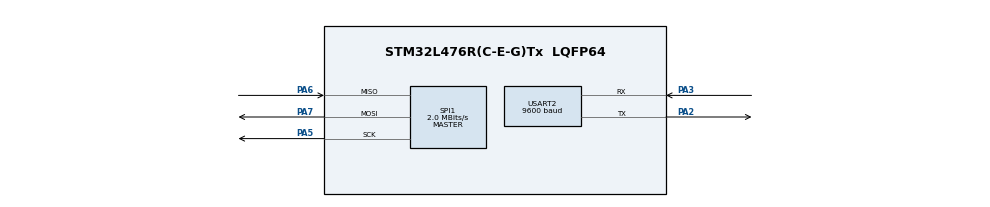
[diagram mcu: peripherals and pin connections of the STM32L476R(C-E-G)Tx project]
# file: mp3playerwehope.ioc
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Mcu.Family=STM32L4
Mcu.Name=STM32L476R(C-E-G)Tx
Mcu.Package=LQFP64
NVIC.PriorityGroup=NVIC_PRIORITYGROUP_4
PA2.Mode=Asynchronous
PA2.Signal=USART2_TX
PA3.Mode=Asynchronous
PA3.Signal=USART2_RX
PA5.Mode=Full_Duplex_Master
PA5.Signal=SPI1_SCK
PA6.Mode=Full_Duplex_Master
PA6.Signal=SPI1_MISO
PA7.Mode=Full_Duplex_Master
PA7.Signal=SPI1_MOSI
ProjectManager.HeapSize=0x200
ProjectManager.StackSize=0x400
ProjectManager.TargetToolchain=EWARM V8.32
RCC.HSE_VALUE=8000000
RCC.HSI_VALUE=16000000
RCC.LSE_VALUE=32768
RCC.MSI_VALUE=4000000
RCC.VCOOutputFreq_Value=32000000
SPI1.CalculateBaudRate=2.0 MBits/s
SPI1.Direction=SPI_DIRECTION_2LINES
SPI1.Mode=SPI_MODE_MASTER
SPI1.VirtualType=VM_MASTER
USART2.BaudRate=9600
USART2.VirtualMode-Asynchronous=VM_ASYNC
VP_FATFS_VS_Generic.Mode=User_defined
board=custom

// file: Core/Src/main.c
/* USER CODE BEGIN Header */
/**
  ******************************************************************************
  * @file           : main.c
  * @brief          : Main program body
  ******************************************************************************
  * @attention
  *
  * Copyright (c) 2025 STMicroelectronics.
  * All rights reserved.
  *
  * This software is licensed under terms that can be found in the LICENSE file
  * in the root directory of this software component.
  * If no LICENSE file comes with this software, it is provided AS-IS.
  *
  ******************************************************************************
  */
/* USER CODE END Header */
#include "main.h"
#include "fatfs.h"

/* USER CODE BEGIN Includes */
#include <string.h>
#include <stdio.h>
/* USER CODE END Includes */

SPI_HandleTypeDef hspi1;
UART_HandleTypeDef huart2;

/* USER CODE BEGIN PV */
/* FatFs objects */
extern FATFS SDFatFs;     // Defined in fatfs.c
extern char SDPath[4];    // Defined in fatfs.c
FIL MyFile;               // File object
char readBuf[128];        // Buffer for reading file text
/* USER CODE END PV */

void SystemClock_Config(void);
static void MX_GPIO_Init(void);
static void MX_SPI1_Init(void);
static void MX_USART2_UART_Init(void);

int main(void)
{

  /* MCU Configuration--------------------------------------------------------*/

  HAL_Init();

  /* Configure the system clock */
  SystemClock_Config();

  /* Initialize all configured peripherals */
  MX_GPIO_Init();
  MX_SPI1_Init();
  MX_USART2_UART_Init();
  MX_FATFS_Init();

  /* USER CODE BEGIN 2 */

  FRESULT res;
  UINT bytesread;

  // 1. Mount the SD card
  res = f_mount(&SDFatFs, (TCHAR const*)SDPath, 1);
  if (res != FR_OK)
  {
    Error_Handler();
  }

  // 2. Open the file (must exist on SD: test.txt)
  res = f_open(&MyFile, "test.txt", FA_READ);
  if (res != FR_OK)
  {
    Error_Handler();
  }

  // 3. Read file contents
  memset(readBuf, 0, sizeof(readBuf));
  res = f_read(&MyFile, readBuf, sizeof(readBuf) - 1, &bytesread);
  if (res != FR_OK)
  {
    Error_Handler();
  }

  // At this point readBuf contains text from test.txt
  // You can inspect it in debug or send using UART
  // Example:
  // HAL_UART_Transmit(&huart2, (uint8_t*)readBuf, strlen(readBuf), 100);

  // 4. Close file
  f_close(&MyFile);

  // 5. Optional unmount
  f_mount(NULL, (TCHAR const*)SDPath, 1);

  /* USER CODE END 2 */

  /* Infinite loop */
  while (1)
  {

  }
}

void SystemClock_Config(void)
{
  RCC_OscInitTypeDef RCC_OscInitStruct = {0};
  RCC_ClkInitTypeDef RCC_ClkInitStruct = {0};

  if (HAL_PWREx_ControlVoltageScaling(PWR_REGULATOR_VOLTAGE_SCALE1) != HAL_OK)
  {
    Error_Handler();
  }

  RCC_OscInitStruct.OscillatorType = RCC_OSCILLATORTYPE_MSI;
  RCC_OscInitStruct.MSIState = RCC_MSI_ON;
  RCC_OscInitStruct.MSICalibrationValue = 0;
  RCC_OscInitStruct.MSIClockRange = RCC_MSIRANGE_6;
  RCC_OscInitStruct.PLL.PLLState = RCC_PLL_NONE;

  if (HAL_RCC_OscConfig(&RCC_OscInitStruct) != HAL_OK)
  {
    Error_Handler();
  }

  RCC_ClkInitStruct.ClockType = RCC_CLOCKTYPE_HCLK
                              | RCC_CLOCKTYPE_SYSCLK
                              | RCC_CLOCKTYPE_PCLK1
                              | RCC_CLOCKTYPE_PCLK2;
  RCC_ClkInitStruct.SYSCLKSource = RCC_SYSCLKSOURCE_MSI;
  RCC_ClkInitStruct.AHBCLKDivider = RCC_SYSCLK_DIV1;
  RCC_ClkInitStruct.APB1CLKDivider = RCC_HCLK_DIV1;
  RCC_ClkInitStruct.APB2CLKDivider = RCC_HCLK_DIV1;

  if (HAL_RCC_ClockConfig(&RCC_ClkInitStruct, FLASH_LATENCY_0) != HAL_OK)
  {
    Error_Handler();
  }
}

static void MX_SPI1_Init(void)
{
  /* SPI1 parameter configuration*/
  hspi1.Instance = SPI1;
  hspi1.Init.Mode = SPI_MODE_MASTER;
  hspi1.Init.Direction = SPI_DIRECTION_2LINES;

  // ⚠️ IMPORTANT:
  // Change to SPI_DATASIZE_8BIT *in the .ioc* and regenerate code.
  hspi1.Init.DataSize = SPI_DATASIZE_8BIT;

  hspi1.Init.CLKPolarity = SPI_POLARITY_LOW;
  hspi1.Init.CLKPhase = SPI_PHASE_1EDGE;
  hspi1.Init.NSS = SPI_NSS_SOFT;
  hspi1.Init.BaudRatePrescaler = SPI_BAUDRATEPRESCALER_2;
  hspi1.Init.FirstBit = SPI_FIRSTBIT_MSB;
  hspi1.Init.TIMode = SPI_TIMODE_DISABLE;
  hspi1.Init.CRCCalculation = SPI_CRCCALCULATION_DISABLE;
  hspi1.Init.CRCPolynomial = 7;
  hspi1.Init.CRCLength = SPI_CRC_LENGTH_DATASIZE;
  hspi1.Init.NSSPMode = SPI_NSS_PULSE_ENABLE;

  if (HAL_SPI_Init(&hspi1) != HAL_OK)
  {
    Error_Handler();
  }
}

static void MX_USART2_UART_Init(void)
{
  huart2.Instance = USART2;
  huart2.Init.BaudRate = 9600;
  huart2.Init.WordLength = UART_WORDLENGTH_8B;
  huart2.Init.StopBits = UART_STOPBITS_1;
  huart2.Init.Parity = UART_PARITY_NONE;
  huart2.Init.Mode = UART_MODE_TX_RX;
  huart2.Init.HwFlowCtl = UART_HWCONTROL_NONE;
  huart2.Init.OverSampling = UART_OVERSAMPLING_16;
  huart2.Init.OneBitSampling = UART_ONE_BIT_SAMPLE_DISABLE;
  huart2.AdvancedInit.AdvFeatureInit = UART_ADVFEATURE_NO_INIT;

  if (HAL_UART_Init(&huart2) != HAL_OK)
  {
    Error_Handler();
  }
}

static void MX_GPIO_Init(void)
{
  __HAL_RCC_GPIOA_CLK_ENABLE();
}

/**
  * @brief  Error Handler
  */
void Error_Handler(void)
{
  __disable_irq();
  while (1)
  {
  }
}
